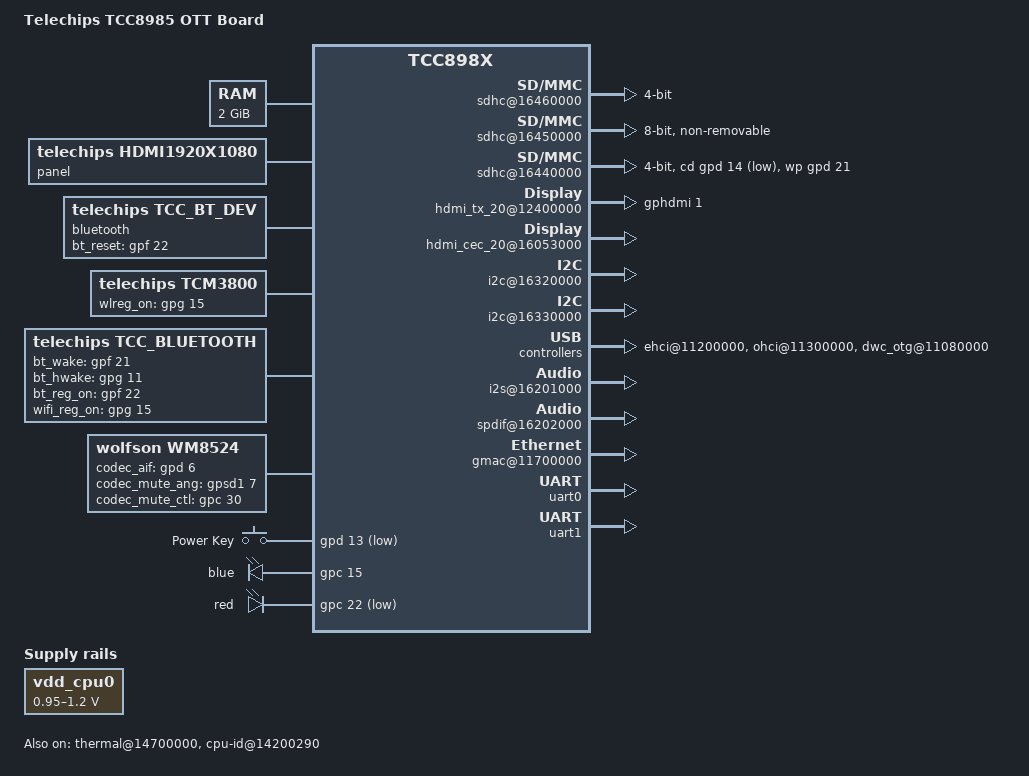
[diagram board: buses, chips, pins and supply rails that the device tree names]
/*
 * Device tree for Telechips TCC8985 OTT board
 *
 * Copyright (C) 2016 Telechips Inc. - http://www.telechips.com
 *
 * This file is dual-licensed: you can use it either under the terms
 * of the GPL or the X11 license, at your option. Note that this dual
 * licensing only applies to this file, and not this project as a
 * whole.
 *
 *  a) This file is free software; you can redistribute it and/or
 *     modify it under the terms of the GNU General Public License as
 *     published by the Free Software Foundation; either version 2 of the
 *     License, or (at your option) any later version.
 *
 *     This file is distributed in the hope that it will be useful,
 *     but WITHOUT ANY WARRANTY; without even the implied warranty of
 *     MERCHANTABILITY or FITNESS FOR A PARTICULAR PURPOSE.  See the
 *     GNU General Public License for more details.
 *
 * Or, alternatively,
 *
 *  b) Permission is hereby granted, free of charge, to any person
 *     obtaining a copy of this software and associated documentation
 *     files (the "Software"), to deal in the Software without
 *     restriction, including without limitation the rights to use,
 *     copy, modify, merge, publish, distribute, sublicense, and/or
 *     sell copies of the Software, and to permit persons to whom the
 *     Software is furnished to do so, subject to the following
 *     conditions:
 *
 *     The above copyright notice and this permission notice shall be
 *     included in all copies or substantial portions of the Software.
 *
 *     THE SOFTWARE IS PROVIDED "AS IS", WITHOUT WARRANTY OF ANY KIND,
 *     EXPRESS OR IMPLIED, INCLUDING BUT NOT LIMITED TO THE WARRANTIES
 *     OF MERCHANTABILITY, FITNESS FOR A PARTICULAR PURPOSE AND
 *     NONINFRINGEMENT. IN NO EVENT SHALL THE AUTHORS OR COPYRIGHT
 *     HOLDERS BE LIABLE FOR ANY CLAIM, DAMAGES OR OTHER LIABILITY,
 *     WHETHER IN AN ACTION OF CONTRACT, TORT OR OTHERWISE, ARISING
 *     FROM, OUT OF OR IN CONNECTION WITH THE SOFTWARE OR THE USE OR
 *     OTHER DEALINGS IN THE SOFTWARE.
 */

/dts-v1/;

#include "tcc8985.dtsi"
#include "tcc898x-linux.dtsi"

/ {
	model = "Telechips TCC8985 OTT Board";
	compatible = "telechips,tcc8985", "telechips,tcc898x";

	chosen {
	};

	memory@20000000 {
		device_type = "memory";
		reg = <0x20000000 0x80000000>;
	};

	cpu0-regulators {
		compatible = "regulator-gpio";

		regulator-name = "vdd_cpu0";
		regulator-min-microvolt = < 950000>;
		regulator-max-microvolt = <1200000>;
		regulator-type = "voltage";
		regulator-always-on;

		gpios = <&gpf 1 0x4
			 &gpf 0 0x4>;
		gpios-states = <0 1>;

		states = < 950000 0x0
			  1000000 0x1
			  1100000 0x2
			  1200000 0x3
		>;

		startup-delay-us = <100000>;
		enable-active-high;
	};

	tcc_pm {
		wakeup,powerkey = <PMU_WKUP_GP_D13 WAKEUP_ACT_LO>;
	};

	panel {
		status = "okay";
		compatible = "telechips,hdmi1920x1080";
	};

	tve@12200000 {
		status = "okay";
	};

	composite {
		status = "okay";
	};

	component {
		status = "disable";
		io_port_num = <0>;
	};

	output_starter {
		status = "okay";
	};

	overlaymixer:overlaymixer@1A100000 {
		status ="okay";
		contiguousSize = <0x1000000>;  /* 16MB (if > 512MB RAM) refer to Guide 27 Page */
		baseAddress = <0x20000000>;
		physSize = <0x80000000>; /*  DRAM size (0x40000000 = 1GB, 0x80000000 = 2GB) */
	};

	fbdisplay: fbdisplay@12000000 {
		telechips,fbdisplay_num = <0>;
		status ="okay";
	};

	tcc_vsync_drv {
		compatible = "telechips,tcc_vsync";
		display-vioc0 = <&vioc_display0>;
		display-vioc1 = <&vioc_display1>;
		status = "okay";
	};

	tcc_video_viqe {
		compatible = "telechips,tcc_viqe";
		status ="okay";
		tcc_viqe_viqe_common {
			board_num=<1>;
		};
	};

	scaler_drv@1 {
		rdmas = <&vioc_rdma16>;
		scalers = <&vioc_sc1 17>;	/* id:1, path:17 */
		wmixs = <&vioc_wmix5 6>;	/* id:5, path:6 */
		wdmas = <&vioc_wdma6>;
		settop_support = <1>;
		status = "okay";
	};

	scaler_drv@3 {
		rdmas = <&vioc_rdma7>;
		scalers = <&vioc_sc3 7>;	/* id:3, path:7 */
		wmixs = <&vioc_wmix1 2>;	/* id:1, path:2 */
		wdmas = <&vioc_wdma1>;
		settop_support = <1>;
		status = "okay";
	};

	wmixer_drv@0 {
		status = "okay";
	};

	wmixer_drv@1 {
		status = "okay";
	};

	vout_drv@0 {
		status = "okay";
	};

	sdhc@16460000 { // Wi-Fi tcm3830
		status = "okay";
		controller-id = <2>;
		bus-width = <4>;
		max-frequency = <200000000>;
		pinctrl-names = "default", "active";
		pinctrl-0 = <&sd2_1_4_idle>;
		pinctrl-1 = <&sd2_1_clk &sd2_1_cmd &sd2_1_bus4>;
		cd-inverted;
		//wp-inverted;
		//non-removable;
		//broken-cd;
		keep-power-in-suspend;
		//enable-sdio-wakeup;
		//cap-power-off-card;
		cap-sdio-irq;
		cap2-no-sleep-cmd;
		cap-bus-width-test;

		//wp-gpios = <&gpb 7 0>;
		//cd-gpios = <&gpext1 5 0>;
		//vctrl-gpio = <&gpc 25 0>;
		//pwr-gpio = <&gpext2 7 0>;

		//cd-polling;
		wifi-polling;

		/* High-speed SDR */
		cap-sd-highspeed;
		cap-mmc-highspeed;

		/* High-speed DDR(emmc & SD3.0 DDR50) */
		//cap-1-8V-ddr;
		//cap-uhs-ddr50;

		/* SD3.0 & eMMC HS200 Common */
		cap-vdd-165-195;

		/* SD3.0 SDR12 */
		//cap-uhs-sdr12;

		/* SD3.0 SDR25 */
		//cap-uhs-sdr25;
		//cap-uhs-driver_type_a;

		/* SD3.0 SDR50 */
		cap-uhs-sdr50;
		cap-uhs-driver_type_c;

		/* SD3.0 SDR104 */
		//cap-uhs-sdr104;
		//cap-uhs-driver_type_d;
		//cap-uhs-cmd23;
		cap-adma;

		/* eMMC HS200 */
		//mmc-hs200-1_8v;
		//cap-uhs-driver_type_d;
		//cap-uhs-cmd23;
		//cap-adma;
	};

	/* bluetooth */
	bluetooth {
		compatible = "telechips, tcc_bt_dev";
		bt_reset-gpio = <&gpf 22 0>;
		status = "okay";
	};

	tcm3800 {
		compatible = "telechips, tcm3800";
		wlreg_on-gpio = <&gpg 15 0>;
	};

	tcc_bluetooth {
		compatible = "telechips, tcc_bluetooth";
		bt_wake-gpios = <&gpf 21 0>;
		bt_hwake-gpio = <&gpg 11 0>;
		bt_reg_on-gpio = <&gpf 22 0>;
//		bt_power-gpio = <&gpext2 10 0>;
		wifi_reg_on-gpio = <&gpg 15 0>;
		status = "okay";
	};

	sdhc@16450000 { // eMMC Boot
		status = "okay";
		controller-id = <1>;
		bus-width = <8>;
		max-frequency = <200000000>;
		pinctrl-names = "default", "active";
		pinctrl-0 = <&sd1_1_idle>;
		pinctrl-1 = <&sd1_1_clk &sd1_1_cmd &sd1_1_bus8>;
		//cd-inverted;
		//wp-inverted;
		non-removable;
		//broken-cd;
		//keep-power-in-suspend;
		//enable-sdio-wakeup;
		//cap-power-off-card;
		cap-sdio-irq;
		cap2-no-sleep-cmd;
		cap-bus-width-test;

		//wp-gpios = <&gpb 7 0>;
		//cd-gpios = <&gpext1 5 0>;
		vctrl-gpio = <&gpa 5 0>;
		//pwr-gpio = <&gpext2 7 0>;
		emmc-rst-gpio = <&gpa 6 0>; // To do : add handling code

		cd-polling;
		//wifi-polling;

		/* High-speed SDR */
		cap-sd-highspeed;
		cap-mmc-highspeed;

		/* High-speed DDR(emmc & SD3.0 DDR50) */
		cap-1-8V-ddr;
		cap-uhs-ddr50;

		/* SD3.0 & eMMC HS200 Common */
		cap-vdd-165-195;

		/* SD3.0 SDR12 */
		//cap-uhs-sdr12;

		/* SD3.0 SDR25 */
		//cap-uhs-sdr25;
		//cap-uhs-driver_type_a;

		/* SD3.0 SDR50 */
		//cap-uhs-sdr50;
		//cap-uhs-driver_type_c;

		/* SD3.0 SDR104 */
		//cap-uhs-sdr104;
		//cap-uhs-driver_type_d;
		//cap-uhs-cmd23;
		//cap-adma;

		/* eMMC HS200 */
		//mmc-hs200-1_8v;
		//cap-uhs-driver_type_d;
		//cap-uhs-cmd23;
		//cap-adma;
	};

	sdhc@16440000 { // SD Card
		status = "okay";
		controller-id = <0>;
		bus-width = <4>;
		max-frequency = <200000000>;
		pinctrl-names = "default", "active";
		pinctrl-0 = <&sd0_1_4_idle>;
		pinctrl-1 = <&sd0_1_clk &sd0_1_cmd &sd0_1_bus4>;
		cd-inverted;
		//wp-inverted;
		//non-removable;
		//broken-cd;
		//keep-power-in-suspend;
		//enable-sdio-wakeup;
		//cap-power-off-card;
		cap-sdio-irq;
		cap2-no-sleep-cmd;
		cap-bus-width-test;

		wp-gpios = <&gpd 21 0>;
		cd-gpios = <&gpd 14 0>;
		//vctrl-gpio = <&gpc 25 0>;
		//pwr-gpio = <&gpext2 7 0>;

		//cd-polling;
		//wifi-polling;

		/* High-speed SDR */
		cap-sd-highspeed;
		cap-mmc-highspeed;

		/* High-speed DDR(emmc & SD3.0 DDR50) */
		//cap-1-8V-ddr;
		//cap-uhs-ddr50;

		/* SD3.0 & eMMC HS200 Common */
		//cap-vdd-165-195;

		/* SD3.0 SDR12 */
		//cap-uhs-sdr12;

		/* SD3.0 SDR25 */
		//cap-uhs-sdr25;
		//cap-uhs-driver_type_a;

		/* SD3.0 SDR50 */
		//cap-uhs-sdr50;
		//cap-uhs-driver_type_c;

		/* SD3.0 SDR104 */
		//cap-uhs-sdr104;
		//cap-uhs-driver_type_d;
		//cap-uhs-cmd23;
		//cap-adma;

		/* eMMC HS200 */
		//mmc-hs200-1_8v;
		//cap-uhs-driver_type_d;
		//cap-uhs-cmd23;
		//cap-adma;
	};

	hdmi_tx_20@12400000 {
		status = "okay";
		pinctrl-names = "default";
		pinctrl-0 = <&hdmi_hpd>;
		hdmi_i2c_mapping = <&i2c3>;
		hdmi_i2c_mapping_val = <0xC 0xF 0x0E>;
		verbose = <0>; // 0 disable, 1 basic, 2 io
		gpios = <&gphdmi 1 0>; // HPD for output starter
		hdmi_phy_type = <1>; // 0 8980, 1 8985_OTT
	};

	hdmi_cec_20@16053000 {
		status = "okay";
		pinctrl-names = "default";
		pinctrl-0 = <&hdmi_cec>;
	};


	/* I2C */

	/* not use
	i2c@16300000 {
		port-mux = <9>;
		status = "okay";
		pinctrl-names = "default";
		pinctrl-0 = <&i2c9_bus>;
	};
	*/

	/* not use
	i2c@16310000 {
		port-mux = <8>;
		status = "okay";
		pinctrl-names = "default";
		pinctrl-0 = <&i2c8_bus>;
	};
	*/

	// SECURE
	i2c@16320000 {
		port-mux = <1>;
		status = "okay";
		pinctrl-names = "default";
		pinctrl-0 = <&i2c1_bus>;
	};

	// HDMI
	i2c@16330000 {
		port-mux = <14>;
		status = "okay";
		pinctrl-names = "default";
		pinctrl-0 = <&i2c14_bus>;
	};

	/* USB 2.0 HOST */
	ehci_phy@111A0010 {
		status = "okay";
		vbus-ctrl-able;
		vbus-gpio = <&gpc 20 0>;
	};

	mux_host_phy@111A00DC {
		status = "okay";
		vbus-ctrl-able;
		vbus-gpio = <&gpc 21 0>;
	};

	dwc_otg_phy@111A0100 {
		status = "okay";
		vbus-ctrl-able;
		vbus-gpio = <&gpc 21 0>;
	};

	ehci@11200000 {

		status = "okay";
		hcd_id = <0>;
		phy-type = <1>;	    //pico phy = 1, nano phy = 0
		hosten-ctrl-able;
		hosten-gpio = <&gpf 10 0>;
		vbus-ctrl-able;
		vbus-gpio = <&gpc 20 0>;
		//vbus-source-ctrl;
		//pinctrl-names = "default";
		//vdd_ehci-supply = <&vdd_v5p0_reg>;

		//sq_level_ctl;
		TXVRT = <0xB>;
		TXRISET = <0x3>;
		TXAT = <0x1>;
	};

	ohci@11300000 {
		status = "okay";
		hosten-ctrl-able;
		hosten-gpio = <&gpf 10 0>;
		vbus-ctrl-able;
		vbus-gpio = <&gpc 20 0>;
		//vbus-source-ctrl;
		//vdd_ohci-supply = <&vdd_v5p0_reg>;
	};

	/* USB 2.0 OTG */
	dwc_otg@11080000 {
		status = "okay";
		phy-type = <1>;     //pico phy = 1, nano phy = 0

		vbus-ctrl-able;
		vbus-gpio = <&gpc 21 0>;
	};

	i2s@16101000 {
		pinctrl-names = "default";
		pinctrl-0 = <&m0dai1_clks &m0dai1_d0>;
		port-mux = <1>;
		status = "disable";
	};

	i2s@16201000 {
		pinctrl-names = "default";
		pinctrl-0 = <&m1dai1_clks &m1dai1_d0>;
		port-mux = <1>;
		status = "okay";
	};

	spdif@16102000 {
		pinctrl-names = "default";
		pinctrl-0 = <&m0dai1_spdif_tx>;
		port-mux = <1>;
		status = "disable";
	};

	spdif@16202000 {
		pinctrl-names = "default";
		pinctrl-0 = <&m1dai1_spdif_tx>;
		port-mux = <1>;
		status = "okay";
	};

	adma@16100000 {
		status = "disable";
	};

	adma@16200000 {
		status = "okay";
	};

	wm8524: wm8524@0 {
		compatible = "wolfson,wm8524";
		status = "okay";

		codec_aif-gpios = <&gpd 6 0>;
		codec_mute_ang-gpios = <&gpsd1 7 0>;
		codec_mute_ctl-gpios = <&gpc 30 0>;
		/* value to enable mute*/
		codec_mute_ang-mute_value = <0>;
	};

	sound@0 {
		compatible = "telechips,snd-card";
		card-name = "TCC8980 STB Card";
		status = "okay";

		telechips,dai-link@0 {
			stream-name="I2S_1";

			codec,format = "i2s"; // i2s, left_j, right_j
			codec,continuous-clock;

			mclk_div = <16>; // 4,6,8,16
			bclk_ratio = <64>; // 32,48,64fs
			pcm = <&adma1>;
			dai = <&i2s1>;
			codec = <&wm8524>;
			codec,dai-name = "wm8524-hifi";
		};

		telechips,dai-link@1 {
			stream-name="SPDIF_1";

			pcm = <&adma1>;
			dai = <&spdif1>;
		};
	};

	remote@16040000 {
		int-gpios = <&gpc 28 0>;
		pinctrl-names = "default";
		pinctrl-0 = <&remote_c28>;
		wakeupsrc = <011>; //RMISEL is 0x3 : GPIO_C28
		status = "okay";
	};

/*
	gpio_keys_polled {
		compatible = "gpio-keys-polled";
		#address-cells = <1>;
		#size-cells = <0>;
		poll-interval = <100>;
		autorepeat;
		button@0 {
			label = "Power Key";
			linux,code = <116>;
			gpios = <&gpd 13 1>;
		};
	};
*/
	gpio_keys {
		compatible = "gpio-keys";
		#address-cells = <1>;
		#size-cells = <0>;
		autorepeat;
		button@0 {
			label = "Power Key";
			linux,code = <116>;
			gpios = <&gpd 13 1>;
		};
	};

	gmac@11700000 {
		status = "okay";
		phyrst-gpio = <&gpc 9 0>;
		phy-interface = "rgmii";
		ecid-mac-addr;
		txclk-o-dly = <0>;
		txclk-o-dly2 = <8>;
		txclk-o-inv = <0>;
		txclk-i-dly = <0>;
		txclk-i-inv = <0>;
		txen-dly = <0>;
		txer-dly = <0>;
		txd0-dly = <0>;
		txd1-dly = <0>;
		txd2-dly = <0>;
		txd3-dly = <0>;
		txd4-dly = <0>;
		txd5-dly = <0>;
		txd6-dly = <0>;
		txd7-dly = <0>;
		rxclk-i-dly = <0>;
		rxclk-i-inv = <0>;
		rxdv-dly = <0>;
		rxer-dly = <0>;
		rxd0-dly = <0>;
		rxd1-dly = <0>;
		rxd2-dly = <0>;
		rxd3-dly = <0>;
		rxd4-dly = <0>;
		rxd5-dly = <0>;
		rxd6-dly = <0>;
		rxd7-dly = <0>;
		crs-dly = <0>;
		col-dly = <0>;
		pinctrl-names = "default", "mii", "rmii", "gmii", "rgmii";
		pinctrl-0 = <>;
		pinctrl-1 = <&gmac1_mdc &gmac1_mdio &gmac1_col &gmac1_crs &gmac1_txer &gmac1_rxer
					 &gmac1_txclk &gmac1_txen &gmac1_txd0 &gmac1_txd1 &gmac1_txd2 &gmac1_txd3
					 &gmac1_rxclk &gmac1_rxdv &gmac1_rxd0 &gmac1_rxd1 &gmac1_rxd2 &gmac1_rxd3>;
		pinctrl-2 = <&gmac1_mdc &gmac1_mdio
					 &gmac1_txclk &gmac1_txen &gmac1_txd0 &gmac1_txd1
					 &gmac1_rxer &gmac1_rxdv &gmac1_rxd0 &gmac1_rxd1>;
		pinctrl-3 = <&gmac1_mdc &gmac1_mdio &gmac1_col &gmac1_crs &gmac1_txer &gmac1_rxer
					 &gmac1_txclk &gmac1_txen &gmac1_txd0 &gmac1_txd1 &gmac1_txd2 &gmac1_txd3
					 &gmac1_txd4 &gmac1_txd5 &gmac1_txd6 &gmac1_txd7
					 &gmac1_rxclk &gmac1_rxdv &gmac1_rxd0 &gmac1_rxd1 &gmac1_rxd2 &gmac1_rxd3
					 &gmac1_rxd4 &gmac1_rxd5 &gmac1_rxd6 &gmac1_rxd7>;
		pinctrl-4 = <&gmac1_mdc &gmac1_mdio
					 &gmac1_txclk &gmac1_txen &gmac1_txd0 &gmac1_txd1 &gmac1_txd2 &gmac1_txd3
					 &gmac1_rxclk &gmac1_rxdv &gmac1_rxd0 &gmac1_rxd1 &gmac1_rxd2 &gmac1_rxd3>;
	};

	thermal@14700000 {
		compatible = "telechips,tcc-thermal";
		reg = <0x14700000 0x4 0x14700030 0x4 0x14200290 0x4 0x1420029C 0x4>;
		clocks = <&clk_isoip_top ISOIP_TOP_TSEN>;
		status = "okay";

		throttle_count = <5>;
		throttle_active_count = <0>;
		throttle_passive_count = <5>;

		cal_type = "TYPE_ONE_POINT_TRIMMING";
		polling-delay-idle = <0>;
		polling-delay-passive = <0>;

		throttle_table {
			throttle_tab_0 {
				temp = <75>;
				freq_max_cluster0 = <1000000>;
				freq_max_cluster1 = <900000>;
			};
			throttle_tab_1 {
				temp = <80>;
				freq_max_cluster0 = <900000>;
				freq_max_cluster1 = <810000>;
			};
			throttle_tab_2 {
				temp = <85>;
				freq_max_cluster0 = <800000>;
				freq_max_cluster1 = <720000>;
			};
			throttle_tab_3 {
				temp = <90>;
				freq_max_cluster0 = <700000>;
				freq_max_cluster1 = <630000>;
			};
			throttle_tab_4 {
				temp = <95>;
				freq_max_cluster0 = <600000>;
				freq_max_cluster1 = <540000>;
			};
		};
	};

	cpu-id@14200290{
		compatible = "telechips,tcc-cpu-id";
		reg = <0x14200290 0x4 0x14200298 0x4 0x1420029C 0x4 0x14400014 0x4>;
		status = "okay";
	};

	run-control {
		compatible = "gpio-leds";
		blue {
			gpios = <&gpc 15 0>;
			default-state = "on";
		};
		red {
			gpios = <&gpc 22 1>;
			default-state = "on";
		};
	};
};

/* Console */
&uart0 {
	pinctrl-names = "default";
	pinctrl-0 = <&uart4_data>;
	status = "okay";
};

/* Bluetooth */
&uart1 {
	pinctrl-names = "default";
	pinctrl-0 = <&uart12_data &uart12_rtscts>;
	status = "okay";
};
